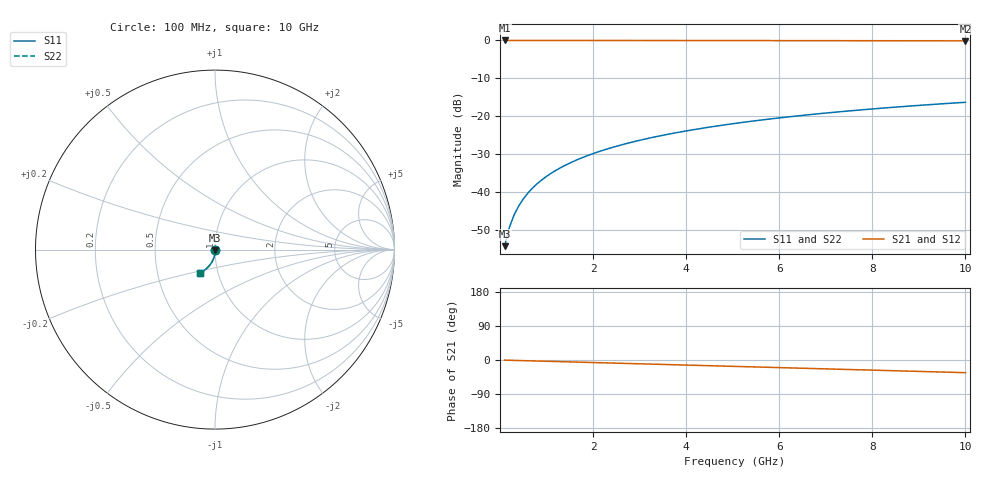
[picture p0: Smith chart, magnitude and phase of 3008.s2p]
# Hz S RI R 50.00
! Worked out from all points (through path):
!   100 points, 100 MHz to 10 GHz, reference 50 ohm
!   highest |S21| = -0.01 dB at 100 MHz (marker M1); lowest = -0.1 dB at 10 GHz (marker M2)
!   group delay of S21, straight-line fit = 9.29 ps
!   lowest |S11| = -54.2 dB at 100 MHz (marker M3), VSWR 1.00, Z = 50.1 - j0.162 ohm
!   |S11| at or under -10 dB: start of sweep to end of sweep
!   |S22| runs from -54.2 to -16.3 dB; largest |S21 - S12| = 0
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1e8  0.00108 -0.00162  0.9989 -0.00582  0.9989 -0.00582  0.00108 -0.00162
2e8  0.00106 -0.00324  0.9988 -0.0116  0.9988 -0.0116  0.00106 -0.00324
3e8  0.00101 -0.00486  0.9987 -0.0175  0.9987 -0.0175  0.00101 -0.00486
4e8  0.000948 -0.00648  0.9986 -0.0233  0.9986 -0.0233  0.000948 -0.00648
5e8  0.000863 -0.0081  0.9984 -0.0291  0.9984 -0.0291  0.000863 -0.0081
6e8  0.000759 -0.00972  0.9982 -0.0349  0.9982 -0.0349  0.000759 -0.00972
7e8  0.000636 -0.0113  0.998 -0.0407  0.998 -0.0407  0.000636 -0.0113
8e8  0.000494 -0.013  0.9977 -0.0466  0.9977 -0.0466  0.000494 -0.013
9e8  0.000333 -0.0146  0.9974 -0.0524  0.9974 -0.0524  0.000333 -0.0146
1.1e9  -4.6e-05 -0.0178  0.9966 -0.064  0.9966 -0.064  -4.6e-05 -0.0178
1.4e9  -0.000756 -0.0226  0.9952 -0.0814  0.9952 -0.0814  -0.000756 -0.0226
1.8e9  -0.00197 -0.029  0.9929 -0.1046  0.9929 -0.1046  -0.00197 -0.029
2.1e9  -0.00307 -0.0337  0.9907 -0.1219  0.9907 -0.1219  -0.00307 -0.0337
2.5e9  -0.0048 -0.04  0.9873 -0.145  0.9873 -0.145  -0.0048 -0.04
2.9e9  -0.00682 -0.0462  0.9834 -0.168  0.9834 -0.168  -0.00682 -0.0462
3.4e9  -0.00975 -0.0538  0.9776 -0.1965  0.9776 -0.1965  -0.00975 -0.0538
4.2e9  -0.0153 -0.0656  0.9666 -0.2418  0.9666 -0.2418  -0.0153 -0.0656
5.1e9  -0.0229 -0.0782  0.9515 -0.292  0.9515 -0.292  -0.0229 -0.0782
5.9e9  -0.0307 -0.0886  0.9357 -0.3357  0.9357 -0.3357  -0.0307 -0.0886
6.7e9  -0.0395 -0.0983  0.9179 -0.3786  0.9179 -0.3786  -0.0395 -0.0983
8.4e9  -0.0608 -0.1159  0.8731 -0.4662  0.8731 -0.4662  -0.0608 -0.1159
1e10  -0.0836 -0.1282  0.8232 -0.5437  0.8232 -0.5437  -0.0836 -0.1282
